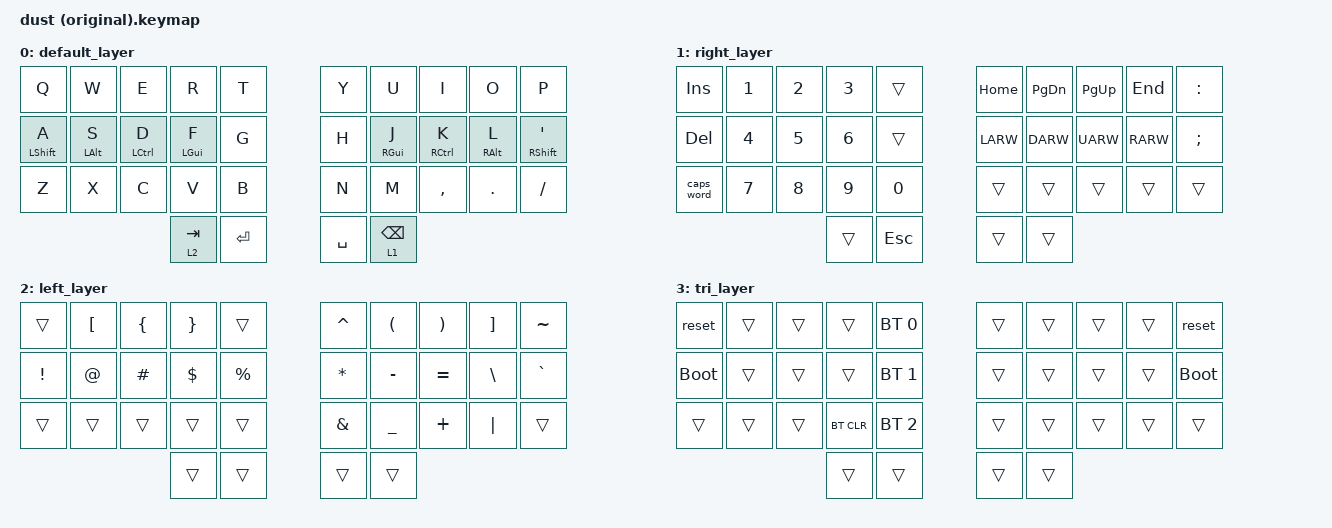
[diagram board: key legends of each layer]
// Copyright (c) 2022 The ZMK Contributors
// SPDX-License-Identifier: MIT

#include <behaviors.dtsi>
#include <dt-bindings/zmk/keys.h>
#include <dt-bindings/zmk/bt.h>

// Home row mods macro
// #define HRML(k1,k2,k3,k4) &ht LSHFT k1  &ht LALT k2  &ht LCTRL k3  &ht LGUI k4
// #define HRMR(k1,k2,k3,k4) &ht RGUI k1  &ht RCTRL k2  &ht RALT k3  &ht RSHFT k4

/ {
    behaviors {
        ht: hold_tap {
            label = "hold_tap";
            compatible = "zmk,behavior-hold-tap";
            #binding-cells = <2>;
            flavor = "tap-preferred";
            tapping-term-ms = <220>;
            quick-tap-ms = <150>;
            global-quick-tap;
            bindings = <&kp>, <&kp>;
        };
    };

    conditional_layers {
        compatible = "zmk,conditional-layers";
        tri_layer {
            if-layers = <1 2>;
            then-layer = <3>;
        };
    };

    keymap {
        compatible = "zmk,keymap";
        default_layer {
            bindings = <
        //╭──────────┬──────────┬──────────┬──────────┬──────────╮   ╭──────────┬──────────┬──────────┬──────────┬──────────╮
        //│  Q       │  W       │  E       │  R       │  T       │   │  Y       │  U       │  I       │  O       │  P       │
            &kp Q      &kp W      &kp E      &kp R      &kp T          &kp Y      &kp U      &kp I      &kp O      &kp P
        //├──────────┼──────────┼──────────┼──────────┼──────────┤   ├──────────┼──────────┼──────────┼──────────┼──────────┤
        //│  A       │  S       │  D       │  F       │  G       │   │  H       │  J       │  K       │  L       │ ' "      │
            &ht LSHFT A  &ht LALT S  &ht LCTRL D  &ht LGUI F     &kp G          &kp H      &ht RGUI J  &ht RCTRL K  &ht RALT L  &ht RSHFT SQT
        //├──────────┼──────────┼──────────┼──────────┼──────────┤   ├──────────┼──────────┼──────────┼──────────┼──────────┤
        //│  Z       │  X       │  C       │  V       │  B       │   │  N       │  M       │ , <      │ . >      │ / ?      │
            &kp Z      &kp X      &kp C      &kp V      &kp B          &kp N      &kp M      &kp COMMA  &kp DOT    &kp FSLH
        //╰──────────┴──────────┴──────────┼──────────┼──────────┤   ├──────────┼──────────┼──────────┴──────────┴──────────╯
                                            &lt 2 TAB   &kp ENTER     &kp SPACE  &lt 1 BSPC
        //                                 ╰──────────┴──────────╯   ╰──────────┴──────────╯
            >;
        };

        right_layer {
            bindings = <
        //╭──────────┬──────────┬──────────┬──────────┬──────────╮   ╭──────────┬──────────┬──────────┬──────────┬──────────╮
        //│ INSERT   │  1       │  2       │  3       │          │   │ HOME     │ PAGE DN  │ PAGE UP  │ END      │  :       │
            &kp INS    &kp N1     &kp N2     &kp N3     &trans         &kp HOME   &kp PG_DN  &kp PG_UP  &kp END    &kp COLON
        //├──────────┼──────────┼──────────┼──────────┼──────────┤   ├──────────┼──────────┼──────────┼──────────┼──────────┤
        //│ DELETE   │  4       │  5       │  6       │          │   │ LEFT     │ DOWN     │ UP       │ RIGHT    │  ;       │
            &kp DEL    &kp N4     &kp N5     &kp N6     &trans         &kp LARW   &kp DARW   &kp UARW   &kp RARW   &kp SEMI
        //├──────────┼──────────┼──────────┼──────────┼──────────┤   ├──────────┼──────────┼──────────┼──────────┼──────────┤
        //│ CAPS     │  7       │  8       │  9       │  0       │   │          │          │          │          │          │
           &caps_word  &kp N7     &kp N8     &kp N9     &kp N0         &trans     &trans     &trans     &trans     &trans
        //╰──────────┴──────────┴──────────┼──────────┼──────────┤   ├──────────┼──────────┼──────────┴──────────┴──────────╯
                                             &trans     &kp ESC        &trans     &trans
        //                                 ╰──────────┴──────────╯   ╰──────────┴──────────╯
            >;
        };

        left_layer {
            bindings = <
        //╭──────────┬──────────┬──────────┬──────────┬──────────╮   ╭──────────┬──────────┬──────────┬──────────┬──────────╮
        //│          │  [       │  {       │  }       │          │   │  ^       │  (       │  )       │  ]       │  ~       │
            &trans     &kp LBKT   &kp LBRC   &kp RBRC   &trans         &kp CARET  &kp LPAR   &kp RPAR   &kp RBKT   &kp TILDE
        //├──────────┼──────────┼──────────┼──────────┼──────────┤   ├──────────┼──────────┼──────────┼──────────┼──────────┤
        //│  !       │  @       │  #       │  $       │  %       │   │  *       │  -       │  =       │  \       │  `       │
            &kp EXCL   &kp AT     &kp HASH   &kp DLLR   &kp PRCNT      &kp ASTRK  &kp MINUS  &kp EQUAL  &kp BSLH   &kp GRAVE
        //├──────────┼──────────┼──────────┼──────────┼──────────┤   ├──────────┼──────────┼──────────┼──────────┼──────────┤
        //│          │          │          │          │          │   │  &       │  _       │  +       │  │       │          │
            &trans     &trans     &trans     &trans     &trans         &kp AMPS   &kp UNDER  &kp PLUS   &kp PIPE   &trans
        //╰──────────┴──────────┴──────────┼──────────┼──────────┤   ├──────────┼──────────┼──────────┴──────────┴──────────╯
                                             &trans     &trans         &trans     &trans
        //                                 ╰──────────┴──────────╯   ╰──────────┴──────────╯
            >;
        };

        tri_layer {
            bindings = <
        //╭──────────┬──────────┬──────────┬──────────┬──────────╮   ╭──────────┬──────────┬──────────┬──────────┬──────────╮
        //│ RESET    │          │          │          │PROFILE 0 │   │          │          │          │          │  RESET   │
            &reset     &trans     &trans     &trans    &bt BT_SEL 0    &trans     &trans     &trans     &trans      &reset
        //├──────────┼──────────┼──────────┼──────────┼──────────┤   ├──────────┼──────────┼──────────┼──────────┼──────────┤
        //│BOOTLOADER│          │          │          │PROFILE 1 │   │          │          │          │          │BOOTLOADER│
          &bootloader  &trans     &trans     &trans    &bt BT_SEL 1    &trans     &trans     &trans     &trans    &bootloader
        //├──────────┼──────────┼──────────┼──────────┼──────────┤   ├──────────┼──────────┼──────────┼──────────┼──────────┤
        //│          │          │          │ CLEAR BT │PROFILE 2 │   │          │          │          │          │          │
            &trans     &trans     &trans    &bt BT_CLR &bt BT_SEL 2    &trans     &trans     &trans     &trans     &trans
        //╰──────────┴──────────┴──────────┼──────────┼──────────┤   ├──────────┼──────────┼──────────┴──────────┴──────────╯
                                             &trans     &trans         &trans     &trans
        //                                 ╰──────────┴──────────╯   ╰──────────┴──────────╯
            >;
        };
    };
};
